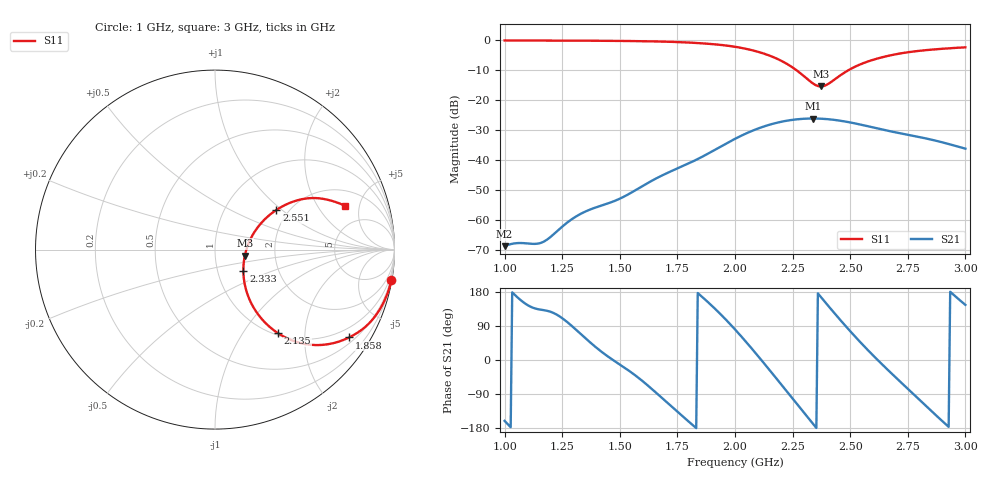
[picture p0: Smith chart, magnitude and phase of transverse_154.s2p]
! TOUCHSTONE file generated by CST MICROWAVE STUDIO
! Date and time: Tue Mar 11 13:57:13 2025
! Project name: transverse.cst
! Parameters = {Fracture=5; B=10; D=160; F=5; Feed=2.85625; L=100; M=30; R=0.384908; S=1; Theta=180; length=57.125; wave=114.25}
! Header version: 2024
! Port assignment regex: !\s*Touchstone port\s*([0-9]+)\s*=\s*(CST MWS port|CST DES external port|CST DES block port)\s*(.+)\s* \(\"(.*)\"\)(\s*mode\s*([0-9]+))?.*
! Touchstone port assignment:
! Touchstone port 1 = CST MWS port 1 ("")
! Touchstone port 2 = CST MWS port 2 ("")
# GHz S MA R 50
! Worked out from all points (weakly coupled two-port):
!   304 points, 1 GHz to 3 GHz, reference 50 ohm
!   highest |S21| = -26.15 dB at 2.34 GHz (marker M1); lowest = -68.9 dB at 1 GHz (marker M2)
!   lowest |S11| = -15.4 dB at 2.373 GHz (marker M3), VSWR 1.41, Z = 69.7 - j4.77 ohm
!   |S11| at or under -10 dB: 2.267 GHz to 2.492 GHz (224.6 MHz wide, 9.44 % of centre)
!   S12 and S22 are empty: the file has one direction only
!   S11 on the Smith chart (normalised r, x): 1 GHz: 0, -12; 1.858 GHz: 0.67, -3.22; 2.135 GHz: 1.03, -1.46; 2.333 GHz: 1.33, -0.32; 2.551 GHz: 1.73, +0.92; 3 GHz: 3.09, +3.62
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1  0.9977 -9.8  0.0003595 -160.6  0 0.0  0 0.0
1.0462  0.9969 -10.4  0.0004017 170.7  0 0.0  0 0.0
1.13201  0.9955 -11.6  0.0003927 136.0  0 0.0  0 0.0
1.16502  0.995 -12.1  0.0004192 132.0  0 0.0  0 0.0
1.19802  0.9943 -12.7  0.0005081 127.6  0 0.0  0 0.0
1.27723  0.9918 -14.0  0.0009266 97.4  0 0.0  0 0.0
1.33663  0.9894 -15.2  0.001287 65.3  0 0.0  0 0.0
1.50165  0.9801 -19.0  0.002258 -12.6  0 0.0  0 0.0
1.66667  0.959 -24.2  0.005094 -91.4  0 0.0  0 0.0
1.85809  0.8928 -33.3  0.01131 166.2  0 0.0  0 0.0
2.0033  0.7783 -43.1  0.02285 78.5  0 0.0  0 0.0
2.13531  0.5833 -53.0  0.0373 -15.6  0 0.0  0 0.0
2.23432  0.3855 -56.3  0.0459 -90.0  0 0.0  0 0.0
2.33333  0.1963 -36.5  0.04928 -164.6  0 0.0  0 0.0
2.33993  0.1884 -33.0  0.04928 -169.5  0 0.0  0 0.0
2.37294  0.1695 -11.3  0.0489 166.1  0 0.0  0 0.0
2.39934  0.1819 6.0  0.04814 146.8  0 0.0  0 0.0
2.45875  0.2627 26.9  0.04516 104.4  0 0.0  0 0.0
2.55116  0.4077 32.9  0.0385 42.3  0 0.0  0 0.0
2.66997  0.5573 30.2  0.03034 -30.0  0 0.0  0 0.0
2.82178  0.6829 24.1  0.02315 -117.2  0 0.0  0 0.0
3  0.7655 18.5  0.01541 145.4  0 0.0  0 0.0
